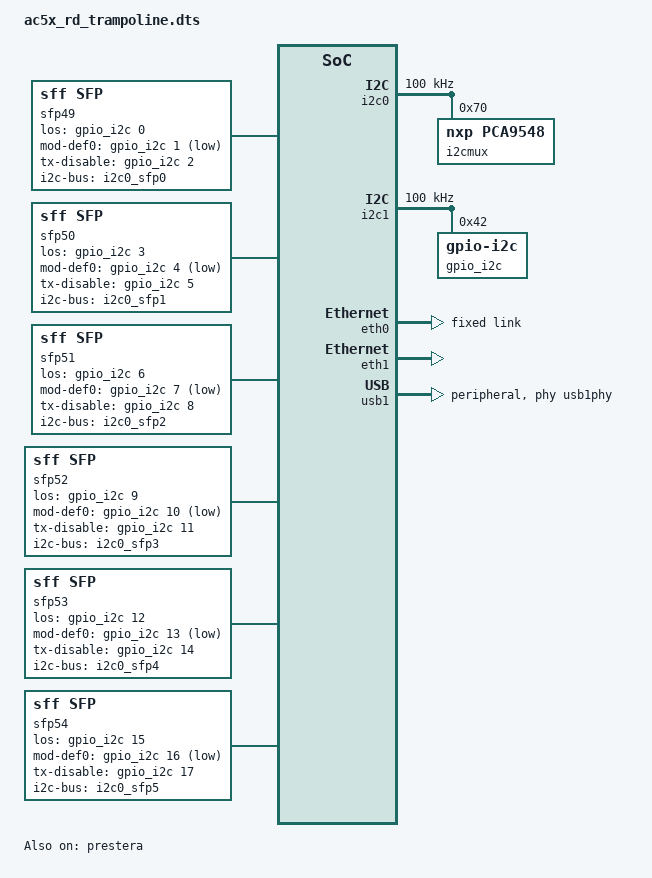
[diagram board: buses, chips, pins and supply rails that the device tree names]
// SPDX-License-Identifier: (GPL-2.0+ OR MIT)
/*
 * Device Tree For AC5x_rd.
 *
 * Copyright (C) 2021 Marvell
 *
 */
// SPDX-License-Identifier: (GPL-2.0+ OR MIT)
/*
 * Device Tree file for Marvell Alleycat 5x reference design board
 * This board file supports the B configuration of the board
 */
#include "ac5-4gb.dtsi"

/ {
	sfp49: sfp-49 {
		compatible = "sff,sfp";
		i2c-bus = <&i2c0_sfp0>;
/*
		The below three lines is intended to support the SFP cage interfaces:
		los-gpio - RX_LOSS
		mod-def0-gpio - PRESENT_BIT
		tx-disable-gpio - TX_ENABLE (or DISABLE)
		To support these three signal the driver 'gpio_i2c' (Or compatible platform driver) must be enabled and supported.
		Please refer to the 'gpio_i2c' section on this DTS file below.
		It is currently not required for Amazon 'ethtool -m' support but it is intended for future use.
		Can be skipped in this stage.
                */
		los-gpio = <&gpio_i2c 0 GPIO_ACTIVE_HIGH>;
		mod-def0-gpio = <&gpio_i2c 1 GPIO_ACTIVE_LOW>;
		tx-disable-gpio = <&gpio_i2c 2 GPIO_ACTIVE_HIGH>;
		maximum-power-milliwatt = <2000>;
	};

	sfp50: sfp-50 {
		compatible = "sff,sfp";
		i2c-bus = <&i2c0_sfp1>;
		los-gpio = <&gpio_i2c 3 GPIO_ACTIVE_HIGH>;
		mod-def0-gpio = <&gpio_i2c 4 GPIO_ACTIVE_LOW>;
		tx-disable-gpio = <&gpio_i2c 5 GPIO_ACTIVE_HIGH>;
		maximum-power-milliwatt = <2000>;
	};
        sfp51: sfp-51 {
		compatible = "sff,sfp";
		i2c-bus = <&i2c0_sfp2>;
		los-gpio = <&gpio_i2c 6 GPIO_ACTIVE_HIGH>;
		mod-def0-gpio = <&gpio_i2c 7 GPIO_ACTIVE_LOW>;
		tx-disable-gpio = <&gpio_i2c 8 GPIO_ACTIVE_HIGH>;
		maximum-power-milliwatt = <2000>;
	};
        sfp52: sfp-52 {
		compatible = "sff,sfp";
		i2c-bus = <&i2c0_sfp3>;
		los-gpio = <&gpio_i2c 9 GPIO_ACTIVE_HIGH>;
		mod-def0-gpio = <&gpio_i2c 10 GPIO_ACTIVE_LOW>;
		tx-disable-gpio = <&gpio_i2c 11 GPIO_ACTIVE_HIGH>;
		maximum-power-milliwatt = <2000>;
	};
        sfp53: sfp-53 {
		compatible = "sff,sfp";
		i2c-bus = <&i2c0_sfp4>;
		los-gpio = <&gpio_i2c 12 GPIO_ACTIVE_HIGH>;
		mod-def0-gpio = <&gpio_i2c 13 GPIO_ACTIVE_LOW>;
		tx-disable-gpio = <&gpio_i2c 14 GPIO_ACTIVE_HIGH>;
		maximum-power-milliwatt = <2000>;
	};
        sfp54: sfp-54 {
		compatible = "sff,sfp";
		i2c-bus = <&i2c0_sfp5>;
		los-gpio = <&gpio_i2c 15 GPIO_ACTIVE_HIGH>;
		mod-def0-gpio = <&gpio_i2c 16 GPIO_ACTIVE_LOW>;
		tx-disable-gpio = <&gpio_i2c 17 GPIO_ACTIVE_HIGH>;
		maximum-power-milliwatt = <2000>;
	};
};

&i2c0 {
        status = "okay";
        clock-frequency = <100000>;
        i2cmux@70 {
                compatible = "nxp,pca9548";
                reg = <0x70>;
                #address-cells = <1>;
                #size-cells = <0>;
        i2c-mux-idle-disconnect;

                i2c0_sfp0: i2c@2 {
                        reg = <2>;
                        #address-cells = <1>;
                        #size-cells = <0>;
                };
                i2c0_sfp1: i2c@3 {
                        reg = <3>;
                        #address-cells = <1>;
                        #size-cells = <0>;
                };

                i2c0_sfp2: i2c@4 {
                        reg = <4>;
                        #address-cells = <1>;
                        #size-cells = <0>;
                };
                i2c0_sfp3: i2c@5 {
                        reg = <5>;
                        #address-cells = <1>;
                        #size-cells = <0>;
                };
                i2c0_sfp4: i2c@6 {
                        reg = <6>;
                        #address-cells = <1>;
                        #size-cells = <0>;
                };
                i2c0_sfp5: i2c@7 {
                        reg = <7>;
                        #address-cells = <1>;
                        #size-cells = <0>;
                };
	};
};

&i2c1 {
        status = "okay";
        clock-frequency = <100000>;
	/*
		This driver is intended to emulate GPIO interfaces on CPLD logic
		accessed via I2C interface.
		It is required only if the SFP Cage interfaces will be required:
		los-gpio - RX_LOSS
		mod-def0-gpio - PRESENT_BIT
		tx-disable-gpio - TX_ENABLE (or DISABLE)
		This driver is added as reference code and can be replaced with
		another Platform Drivers that enables similar mapping.
		It is currently not required for Amazon 'ethtool -m' support but
		it is intended for future use.
		Can be skipped in this stage.
	*/
	gpio_i2c: gpio-i2c@42 {
		compatible = "gpio-i2c";
		#address-cells = <1>;
		#size-cells = <0>;
		gpio-controller;
		#gpio-cells = <2>;
		reg = <0x42>;  /* CPLD/MUX I2C address */

		gpio-map {
			/* sfp0 */
			sfp00_gpio00_loss {
				reg-map = <0x40 (1 << 2)>; /* 0x40=register in the CPLD, (1 << 0)=Selected bit */
				gpio-num = <0>;  /* Logical number used by: los-gpio, mod-def0-gpio and tx-disable-gpio */
			};
			sfp00_gpio01_pres {
				reg-map = <0x41 (1 << 2)>; /* reg mask */
				gpio-num = <1>;
			};
			sfp00_gpio02_tx_dis {
				reg-map = <0x42 (1 << 2)>; /* reg mask */
				gpio-num = <2>;
			};

			/* sfp1 */
			sfp01_gpio00_sfp_loss {
				reg-map = <0x40 (1 << 3)>; /* reg mask */
				gpio-num = <3>;
			};
			sfp01_gpio01_sfp_pres {
				reg-map = <0x41 (1 << 3)>; /* reg mask */
				gpio-num = <4>;
			};
			sfp01_gpio02_tx_dis {
				reg-map = <0x42 (1 << 3)>; /* reg mask */
				gpio-num = <5>;
			};
                        /* sfp2 */
			sfp02_gpio00_loss {
				reg-map = <0x40 (1 << 4)>; /* reg mask */
				gpio-num = <6>;  
			};
			sfp02_gpio01_pres {
				reg-map = <0x41 (1 << 4)>; /* reg mask */
				gpio-num = <7>;
			};
			sfp02_gpio02_tx_dis {
				reg-map = <0x42 (1 << 4)>; /* reg mask */
				gpio-num = <8>;
			};

			/* sfp3 */
			sfp03_gpio00_sfp_loss {
				reg-map = <0x40 (1 << 5)>; /* reg mask */
				gpio-num = <9>;
			};
			sfp03_gpio01_sfp_pres {
				reg-map = <0x41 (1 << 5)>; /* reg mask */
				gpio-num = <10>;
			};
			sfp03_gpio02_tx_dis {
				reg-map = <0x42 (1 << 5)>; /* reg mask */
				gpio-num = <11>;
			};
                        /* sfp4 */
			sfp04_gpio00_loss {
				reg-map = <0x40 (1 << 6)>; /* reg mask */
				gpio-num = <12>;  
			};
			sfp04_gpio01_pres {
				reg-map = <0x41 (1 << 6)>; /* reg mask */
				gpio-num = <13>;
			};
			sfp04_gpio02_tx_dis {
				reg-map = <0x42 (1 << 6)>; /* reg mask */
				gpio-num = <14>;
			};

			/* sfp5 */
			sfp05_gpio00_sfp_loss {
				reg-map = <0x40 (1 << 7)>; /* reg mask */
				gpio-num = <15>;
			};
			sfp05_gpio01_sfp_pres {
				reg-map = <0x41 (1 << 7)>; /* reg mask */
				gpio-num = <16>;
			};
			sfp05_gpio02_tx_dis {
				reg-map = <0x42 (1 << 7)>; /* reg mask */
				gpio-num = <17>;
			};
		};
	};

};

&eth0 {
	status = "okay";
	fixed-link {
		speed = <1000>;
		full-duplex;
	};
};

&eth1 {
	status = "okay";
};

&usb1 {
	compatible = "chipidea,usb2";
	phys = <&usb1phy>;
	phy-names = "usb-phy";
	dr_mode = "peripheral";
};

&prestera {
	compatible = "marvell,prestera";
	status = "okay";
	reg = <0x0 0x7F900000 0x0 0x40000>;
	ports {
		port49 {
			prestera,port-num = <49>;
			sfp = <&sfp49>;
		};
		port50 {
			prestera,port-num = <50>;
			sfp = <&sfp50>;
		};
                port51 {
			prestera,port-num = <51>;
			sfp = <&sfp51>;
		};
		port52 {
			prestera,port-num = <52>;
			sfp = <&sfp52>;
		};
                port43 {
			prestera,port-num = <53>;
			sfp = <&sfp53>;
		};
		port54 {
			prestera,port-num = <54>;
			sfp = <&sfp54>;
		};

	};
};

&sfp49 {
	status = "okay";
};

&sfp50 {
	status = "okay";
};

&sfp51 {
	status = "okay";
};

&sfp52 {
	status = "okay";
};

&sfp53 {
	status = "okay";
};

&sfp54 {
	status = "okay";
};

